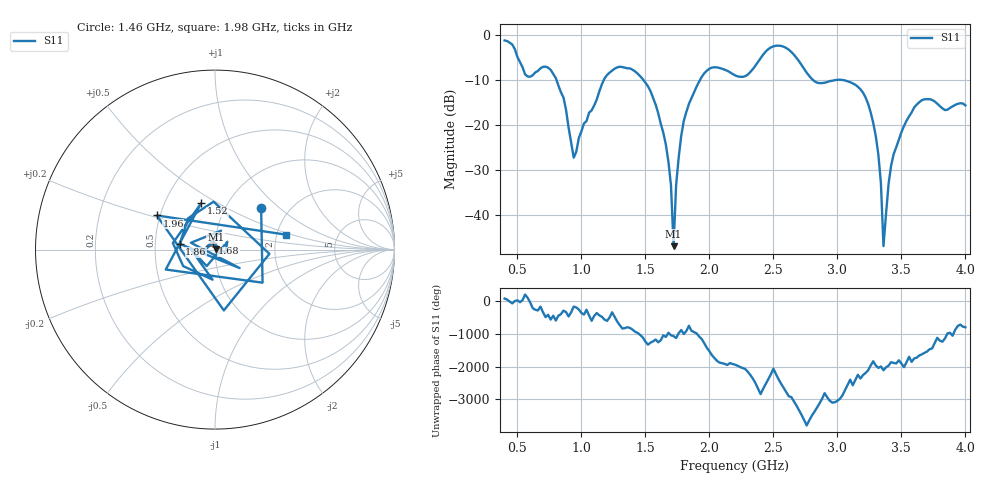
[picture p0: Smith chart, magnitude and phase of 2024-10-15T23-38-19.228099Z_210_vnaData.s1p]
! Created with skrf (http://scikit-rf.org).
# Hz S RI R 50.0
!freq ReS11 ImS11
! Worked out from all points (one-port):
!   181 points, 400 MHz to 4 GHz, reference 50 ohm
!   lowest |S11| = -47.0 dB at 1.72 GHz (marker M1), VSWR 1.01, Z = 50.4 + j0.0673 ohm
!   |S11| at or under -10 dB: 805.2 MHz to 1.175 GHz (369.9 MHz wide, 37.4 % of centre); 1.485 GHz to 1.927 GHz (441.8 MHz wide, 25.9 % of centre); 3.041 GHz to end of sweep (the widest 3 of 4)
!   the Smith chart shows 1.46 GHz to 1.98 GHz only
!   S11 on the Smith chart (normalised r, x): 1.46 GHz: 1.45, +0.77; 1.52 GHz: 0.76, +0.42; 1.68 GHz: 0.97, +0.07; 1.86 GHz: 0.67, +0.04; 1.96 GHz: 0.48, +0.21; 1.98 GHz: 2.23, +0.45
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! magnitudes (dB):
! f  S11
! 400 MHz  -1.2
! 580 MHz  -9.2
! 760 MHz  -7.7
! 860 MHz  -13.9
! 940 MHz  -27.3
! 1.18 GHz  -9.7
! 1.3 GHz  -7.0
! 1.46 GHz  -9.2
! 1.52 GHz  -11.4
! 1.68 GHz  -28.2
! 1.7 GHz  -33.5
! 1.72 GHz  -47.0
! 1.74 GHz  -33.4
! 1.76 GHz  -27.3
! 1.86 GHz  -14.0
! 1.96 GHz  -8.5
! 1.98 GHz  -7.9
! 2.2 GHz  -9.0
! 2.5 GHz  -2.5
! 2.66 GHz  -4.4
! 2.84 GHz  -10.6
! 3.1 GHz  -10.5
! 3.28 GHz  -19.6
! 3.34 GHz  -33.0
! 3.36 GHz  -47.0
! 3.42 GHz  -29.0
! 3.56 GHz  -18.1
! 4 GHz  -15.6
